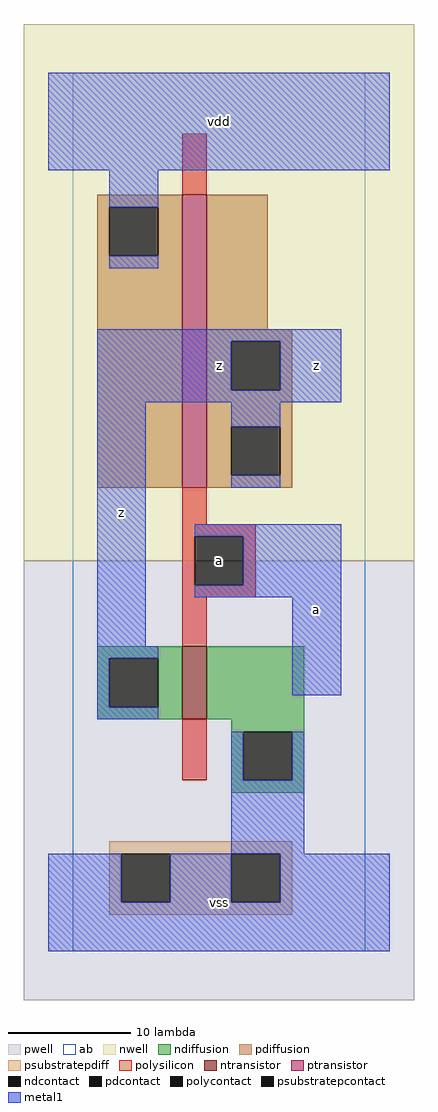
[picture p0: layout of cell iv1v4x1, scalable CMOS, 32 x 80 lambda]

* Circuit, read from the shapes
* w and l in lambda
.subckt iv1v4x1 a vdd vss z
M1 vss a z vss nfet w=6 l=2
M2 z a vdd n1 pfet w=24 l=2
.ends

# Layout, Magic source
magic
tech scmos
<< ab >>
rect 0 0 24 72
<< pwell >>
rect -4 -4 28 32
<< nwell >>
rect -4 32 28 76
<< polysilicon >>
rect 9 62 11 67
rect 9 35 11 38
rect 9 34 15 35
rect 9 30 10 34
rect 14 30 15 34
rect 9 29 15 30
rect 9 25 11 29
rect 9 14 11 19
<< ndiffusion >>
rect 2 24 9 25
rect 2 20 3 24
rect 7 20 9 24
rect 2 19 9 20
rect 11 19 19 25
rect 13 18 19 19
rect 13 14 14 18
rect 18 14 19 18
rect 13 13 19 14
<< pdiffusion >>
rect 2 61 9 62
rect 2 57 3 61
rect 7 57 9 61
rect 2 38 9 57
rect 11 51 16 62
rect 11 50 18 51
rect 11 46 13 50
rect 17 46 18 50
rect 11 43 18 46
rect 11 39 13 43
rect 17 39 18 43
rect 11 38 18 39
<< metal1 >>
rect -2 64 26 72
rect 3 61 7 64
rect 3 56 7 57
rect 2 50 22 51
rect 2 46 13 50
rect 17 46 22 50
rect 2 45 22 46
rect 2 25 6 45
rect 13 43 17 45
rect 13 38 17 39
rect 10 34 22 35
rect 14 30 22 34
rect 10 29 22 30
rect 2 24 7 25
rect 2 20 3 24
rect 18 21 22 29
rect 2 19 7 20
rect 13 14 14 18
rect 18 14 19 18
rect 13 8 19 14
rect -2 4 4 8
rect 8 4 13 8
rect 17 4 26 8
rect -2 0 26 4
<< ntransistor >>
rect 9 19 11 25
<< ptransistor >>
rect 9 38 11 62
<< polycontact >>
rect 10 30 14 34
<< ndcontact >>
rect 3 20 7 24
rect 14 14 18 18
<< pdcontact >>
rect 3 57 7 61
rect 13 46 17 50
rect 13 39 17 43
<< psubstratepcontact >>
rect 4 4 8 8
rect 13 4 17 8
<< psubstratepdiff >>
rect 3 8 18 9
rect 3 4 4 8
rect 8 4 13 8
rect 17 4 18 8
rect 3 3 18 4
<< labels >>
rlabel metal1 4 36 4 36 6 z
rlabel metal1 12 4 12 4 6 vss
rlabel polycontact 12 32 12 32 6 a
rlabel metal1 12 48 12 48 6 z
rlabel metal1 12 68 12 68 6 vdd
rlabel metal1 20 28 20 28 6 a
rlabel metal1 20 48 20 48 6 z
<< end >>
